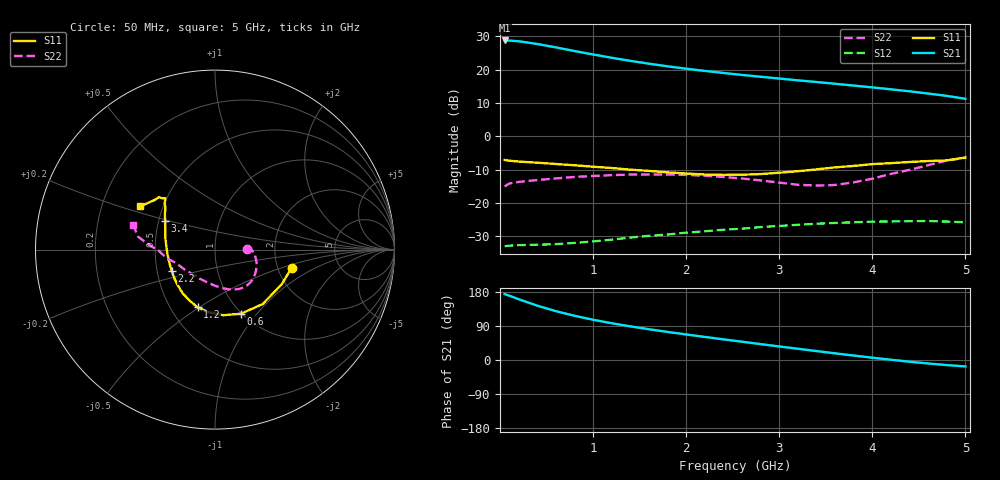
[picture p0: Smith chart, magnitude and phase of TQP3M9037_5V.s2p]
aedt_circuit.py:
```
"""PyAEDT automation: build, run and save the ANSYS Electronics Desktop Circuit project.

    python aedt_circuit.py [--version 2026.1] [--gui]

Creates ../ANSYS_Project/GNSS_L1_L2L5_FrontEnd.aedt with designs "FrontEnd_3port" and "SBand_2port":
  * imports every Touchstone model from ../Touchstone (LNA table, HC125A, B7504, B8889, DXP.02.A,
    ideal RHCP patch feed),
  * places them on a schematic in two rows (L1 branch on top, L2/L5 below) plus the DXP combiner,
  * adds the LNA bias networks (100 pF DC blocks with ESL/ESR, 18 nH choke, 100 pF + 1 uF bypass,
    +5 V VDD source), 50 ohm terminations and grounds,
  * connects everything (wires where possible, page ports otherwise),
  * adds 3 interface ports (P1 L1 RHCP in, P2 L2/L5 RHCP in, P3 RF out),
  * creates a Nexxim linear network analysis 0.6-2.2 GHz (3201 points), runs it, exports
    ../ANSYS_Project/AEDT_System_3port.s3p and dB(S) reports, and saves the project.
Requires AEDT (tested target 2026 R1) and pyaedt >= 0.10 (package ansys-aedt-core / pyaedt 1.x).
"""
from __future__ import annotations

import argparse
import json
from pathlib import Path

from ansys.aedt.core import Circuit

ROOT = Path(__file__).resolve().parent.parent
TS = ROOT / "Touchstone"
OUT = ROOT / "ANSYS_Project"
OUT.mkdir(exist_ok=True)

DX = 1200          # schematic step between blocks (mil)
ROW = {"L1": 0, "L2": -4000}


def connect(a, b):
    """Wire two pins; fall back to a page-port pair (same net name) if routing fails."""
    try:
        if a.connect_to_component(b, use_wire=True):
            return
    except Exception:
        pass
    a.connect_to_component(b, use_wire=False)


def build(cir: Circuit):
    sch = cir.modeler.schematic
    # make sure lumped parameters are in SI with units
    def cap(name, val, x, y, ang=0):
        return sch.create_capacitor(name=name, value=val, location=[x, y], angle=ang)

    def ind(name, val, x, y, ang=0):
        return sch.create_inductor(name=name, value=val, location=[x, y], angle=ang)

    def res(name, val, x, y, ang=0):
        return sch.create_resistor(name=name, value=val, location=[x, y], angle=ang)

    def gnd_at(pin):
        g = sch.create_gnd(location=[pin.location[0], pin.location[1] - 300])
        connect(pin, g.pins[0])

    def snp(fname, x, y):
        return sch.create_touchstone_component(str(TS / fname), location=[x, y])

    vdd = sch.create_voltage_dc(name="VDD", value=5, location=[-2 * DX, 2500])
    gnd_at(vdd.pins[1] if len(vdd.pins) > 1 else vdd.pins[0])
    vdd_pin = vdd.pins[0]

    def lna_stage(tag, x, y, prev_pin):
        c1 = cap(f"C1_{tag}", "100pF", x, y)
        connect(prev_pin, c1.pins[0])
        lna = snp("TQP3M9037_5V.s2p", x + DX, y)
        connect(c1.pins[1], lna.pins[0])
        for extra in lna.pins[2:]:
            gnd_at(extra)
        # bias tee: choke from LNA output to VDD rail, bypassed by 100 pF + 1 uF
        l1 = ind(f"L1_{tag}", "18nH", x + 2 * DX, y + 800, ang=90)
        connect(lna.pins[1], l1.pins[0])
        c3 = cap(f"C3_{tag}", "100pF", x + 2.6 * DX, y + 1500, ang=90)
        c4 = cap(f"C4_{tag}", "1uF", x + 3.2 * DX, y + 1500, ang=90)
        connect(l1.pins[1], c3.pins[0])
        connect(c3.pins[0], c4.pins[0])
        gnd_at(c3.pins[1])
        gnd_at(c4.pins[1])
        connect(l1.pins[1], vdd_pin)
        c2 = cap(f"C2_{tag}", "100pF", x + 3 * DX, y)
        connect(lna.pins[1], c2.pins[0])
        return c2.pins[1]

    out_pins = {}
    for br, saw in (("L1", "B7504.s2p"), ("L2", "B8889_matched.s2p")):
        y = ROW[br]
        port = sch.create_interface_port(f"P{1 if br == 'L1' else 2}_{br}_RHCP", location=[-3 * DX, y])
        cp = snp("PatchCP_ideal_RHCP_feed.s4p", -2 * DX, y)
        connect(port.pins[0], cp.pins[0])
        r_lh = res(f"R_LHCP_{br}", 50, -2 * DX, y - 900, ang=90)
        connect(cp.pins[1], r_lh.pins[0]); gnd_at(r_lh.pins[1])
        hyb = snp("HC125A.s4p", 0, y)
        connect(cp.pins[2], hyb.pins[2])
        connect(cp.pins[3], hyb.pins[3])
        r_iso = res(f"R_ISO_{br}", 50, 0, y - 900, ang=90)
        connect(hyb.pins[1], r_iso.pins[0]); gnd_at(r_iso.pins[1])
        for comp in (cp, hyb):
            for extra in comp.pins[4:]:
                gnd_at(extra)
        p = lna_stage(f"{br}A", DX, y, hyb.pins[0])
        s1 = snp(saw, 5 * DX, y)
        connect(p, s1.pins[0])
        p = lna_stage(f"{br}B", 6 * DX, y, s1.pins[1])
        s2 = snp(saw, 10 * DX, y)
        connect(p, s2.pins[0])
        for comp in (s1, s2):
            for extra in comp.pins[2:]:
                gnd_at(extra)
        out_pins[br] = s2.pins[1]

    dxp = snp("DXP02A.s3p", 12 * DX, (ROW["L1"] + ROW["L2"]) / 2)
    connect(out_pins["L1"], dxp.pins[1])
    connect(out_pins["L2"], dxp.pins[2])
    for extra in dxp.pins[3:]:
        gnd_at(extra)
    pout = sch.create_interface_port("P3_RF_OUT", location=[13.5 * DX, (ROW["L1"] + ROW["L2"]) / 2])
    connect(dxp.pins[0], pout.pins[0])


def build_sband(cir: Circuit):
    """S-band branch: patch -> C2327J5003AHF -> LNA (Qorvo 2.3-2.6 GHz ref. design) -> TA1442A -> LNA -> TA1442A."""
    sch = cir.modeler.schematic

    def gnd_at(pin):
        connect(pin, sch.create_gnd(location=[pin.location[0], pin.location[1] - 300]).pins[0])

    def snp(fname, x, y):
        return sch.create_touchstone_component(str(TS / fname), location=[x, y])

    vdd = sch.create_voltage_dc(name="VDD_S", value=5, location=[-2 * DX, 2500])
    gnd_at(vdd.pins[1] if len(vdd.pins) > 1 else vdd.pins[0])
    port = sch.create_interface_port("P1_S_RHCP", location=[-3 * DX, 0])
    cp = snp("PatchCP_ideal_RHCP_feed.s4p", -2 * DX, 0)
    connect(port.pins[0], cp.pins[0])
    r1 = sch.create_resistor(name="R_LHCP_S", value=50, location=[-2 * DX, -900], angle=90)
    connect(cp.pins[1], r1.pins[0]); gnd_at(r1.pins[1])
    hyb = snp("C2327J5003AHF.s4p", 0, 0)          # 1 in, 2 iso, 3 coupled, 4 direct
    connect(cp.pins[2], hyb.pins[3])
    connect(cp.pins[3], hyb.pins[2])
    r2 = sch.create_resistor(name="R_ISO_S", value=50, location=[0, -900], angle=90)
    connect(hyb.pins[1], r2.pins[0]); gnd_at(r2.pins[1])
    for comp in (cp, hyb):
        for extra in comp.pins[4:]:
            gnd_at(extra)
    prev = hyb.pins[0]
    x = DX
    for tag in ("SA", "SB"):
        l2 = sch.create_inductor(name=f"L2_{tag}", value="2.7nH", location=[x, -800], angle=90)
        connect(prev, l2.pins[0]); gnd_at(l2.pins[1])
        c5 = sch.create_capacitor(name=f"C5_{tag}", value="2.4pF", location=[x + 0.6 * DX, 0])
        connect(prev, c5.pins[0])
        lna = snp("TQP3M9037_5V.s2p", x + 1.6 * DX, 0)
        connect(c5.pins[1], lna.pins[0])
        for extra in lna.pins[2:]:
            gnd_at(extra)
        l1 = sch.create_inductor(name=f"L1_{tag}", value="5.6nH", location=[x + 2.6 * DX, 800], angle=90)
        connect(lna.pins[1], l1.pins[0])
        c3 = sch.create_capacitor(name=f"C3_{tag}", value="100pF", location=[x + 3.2 * DX, 1500], angle=90)
        connect(l1.pins[1], c3.pins[0]); gnd_at(c3.pins[1]); connect(l1.pins[1], vdd.pins[0])
        c2 = sch.create_capacitor(name=f"C2_{tag}", value="100pF", location=[x + 3.6 * DX, 0])
        connect(lna.pins[1], c2.pins[0])
        saw = snp("TA1442A.s2p", x + 5 * DX, 0)
        connect(c2.pins[1], saw.pins[0])
        for extra in saw.pins[2:]:
            gnd_at(extra)
        prev = saw.pins[1]
        x += 6.5 * DX
    pout = sch.create_interface_port("P2_S_OUT", location=[x, 0])
    connect(prev, pout.pins[0])


def main():
    ap = argparse.ArgumentParser()
    ap.add_argument("--version", default="2026.1")
    ap.add_argument("--gui", action="store_true")
    args = ap.parse_args()

    project = OUT / "GNSS_L1_L2L5_FrontEnd.aedt"
    cir = Circuit(project=str(project), design="FrontEnd_3port", version=args.version,
                  non_graphical=not args.gui, new_desktop=True, close_on_exit=True, remove_lock=True)
    try:
        build(cir)
        setup = cir.create_setup("SP_0p6_2p2GHz", setup_type="NexximLNA")
        setup.props["SweepDefinition"]["Data"] = "LINC 0.6GHz 2.2GHz 3201"
        setup.update()
        cir.save_project()
        ok = cir.analyze(setup="SP_0p6_2p2GHz")
        ports = list(cir.excitation_names)
        exprs = []
        for a in ports:
            for b in ports:
                exprs.append(f"dB(S({a},{b}))")
        cir.post.create_report(exprs, setup_sweep_name="SP_0p6_2p2GHz", plot_name="S-parameters (dB)")
        gains = [e for e in exprs if "P3_RF_OUT," in e and "P3_RF_OUT,P3" not in e]
        cir.post.create_report(gains, setup_sweep_name="SP_0p6_2p2GHz", plot_name="Branch gain")
        ts = cir.export_touchstone(setup="SP_0p6_2p2GHz", output_file=str(OUT / "AEDT_System_3port.s3p"))
        cir.save_project()
        (OUT / "aedt_run.json").write_text(json.dumps(
            {"analyze_ok": bool(ok), "ports": ports, "touchstone": str(ts), "version": args.version}, indent=1))
        print("analyze:", ok, "ports:", ports, "touchstone:", ts)
        # second design in the same project: S-band branch
        cs = Circuit(project=cir.project_name, design="SBand_2port")
        build_sband(cs)
        su = cs.create_setup("SP_SBand", setup_type="NexximLNA")
        su.props["SweepDefinition"]["Data"] = "LINC 0.5GHz 4GHz 7001"
        su.update()
        ok_s = cs.analyze(setup="SP_SBand")
        cs.post.create_report(["dB(S(P2_S_OUT,P1_S_RHCP))", "dB(S(P1_S_RHCP,P1_S_RHCP))", "dB(S(P2_S_OUT,P2_S_OUT))"],
                              setup_sweep_name="SP_SBand", plot_name="S-band S-parameters (dB)")
        ts_s = cs.export_touchstone(setup="SP_SBand", output_file=str(OUT / "AEDT_SBand_2port.s2p"))
        cs.save_project()
        print("S-band analyze:", ok_s, "touchstone:", ts_s)
    finally:
        cir.release_desktop(close_projects=True, close_desktop=True)


if __name__ == "__main__":
    main()
```
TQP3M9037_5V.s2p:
! Project 16: GNSS L1 + L2/L5 active antenna front end (RFMW-ANT)
! Generated by Scripts/simulate.py from Scripts/ds_data.py; format GHz / RI, Z0 = 50 ohm
! EXTRACTED (not estimated): Qorvo TQP3M9037 data sheet, 25 Jul 2017 p.3, VDD=+5 V, IDD=70 mA, 25 C
! Calibrated to the device leads: no DC blocks, no bias choke (add them in the circuit).
! Noise block: measured table p.3 (1.5-2.7 GHz). Below 1.5 GHz see Extracted_Data/assumptions_log.md
# GHz S RI R 50.0
!freq ReS11 ImS11 ReS21 ImS21 ReS12 ImS12 ReS22 ImS22
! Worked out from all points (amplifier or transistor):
!   27 points, 50 MHz to 5 GHz, reference 50 ohm
!   highest |S21| = 28.7 dB at 50 MHz (marker M1)
!   |S21| within 3 dB of that: start of sweep to 769.1 MHz
!   unconditionally stable (mu >= 1): start of sweep to end of sweep
!   at 600 MHz: K = 1.10, MAG = 27.6 dB, |S12| = -32.3 dB
!   at 2.4 GHz: K = 1.37, MAG = 19.8 dB, |S12| = -28.0 dB
!   at 5 GHz: K = 1.46, MAG = 14.5 dB, |S12| = -25.8 dB
!   lowest NFmin = 0.29 dB at 1.7 GHz
!   S11 on the Smith chart (normalised r, x): 50 MHz: 2.40, -0.61; 600 MHz: 0.99, -0.83; 1.2 GHz: 0.68, -0.49; 2.2 GHz: 0.60, -0.15; 3.4 GHz: 0.54, +0.19; 5 GHz: 0.37, +0.23
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0.05  0.4306 -0.1024  -27.2 2.897  0.0224 0.00337  0.1772 0.000619
0.2  0.3727 -0.192  -25.11 8.905  0.0233 0.00232  0.2072 -0.00452
0.4  0.2655 -0.3034  -19.45 14.42  0.0235 0.00364  0.2202 -0.0244
0.6  0.1453 -0.3571  -13.55 16.76  0.0237 0.00494  0.2282 -0.0526
0.8  0.046 -0.3657  -8.538 16.96  0.0245 0.00647  0.2325 -0.0814
1.2  -0.0973 -0.3213  -1.847 14.93  0.027 0.00867  0.2231 -0.1381
1.6  -0.1785 -0.2453  1.88 12.13  0.0304 0.0109  0.1973 -0.1827
2.2  -0.2409 -0.118  4.647 8.356  0.0357 0.0123  0.1353 -0.2189
2.6  -0.2647 -0.0267  5.542 6.215  0.0397 0.0116  0.0757 -0.221
3.4  -0.2783 0.1585  5.98 2.609  0.0485 0.00688  -0.0823 -0.1637
5  -0.4166 0.2412  3.498 -1.063  0.0511 -0.00571  -0.4574 0.139
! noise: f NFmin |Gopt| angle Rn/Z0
1.5  0.4  0.15  14.1  0.0016
1.7  0.29  0.16  43.7  0.0012
1.8  0.3  0.13  55.1  0.0012
1.9  0.3  0.11  30.2  0.0012
2  0.32  0.11  65.3  0.001
2.1  0.32  0.13  77.6  0.001
2.2  0.35  0.14  89  0.001
2.4  0.43  0.06  85.8  0.001
2.5  0.51  0.02  42.1  0.0012
2.7  0.46  0.07  148.6  0.001
